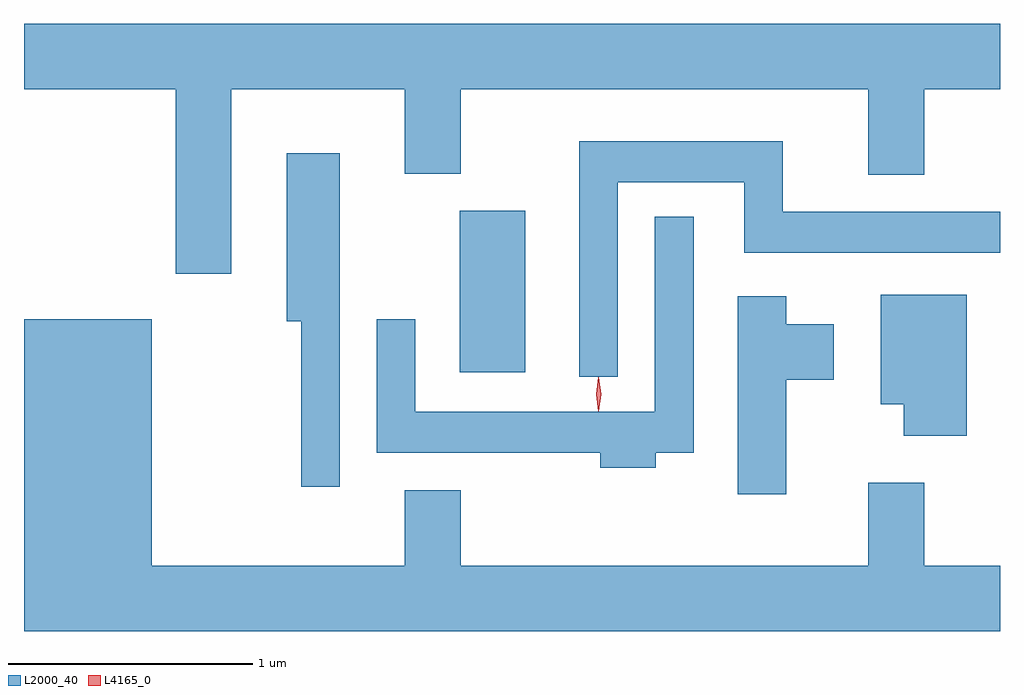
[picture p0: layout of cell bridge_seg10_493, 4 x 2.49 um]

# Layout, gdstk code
import gdstk
lib = gdstk.Library(unit=1e-6, precision=1e-09)
def R(c, l, rs):  # rectangles x0, y0, x1, y1
    for r in rs: c.add(gdstk.rectangle(r[:2], r[2:], *l))
def P(c, l, *ps):  # polygons
    for p in ps: c.add(gdstk.Polygon(p, *l))
L2000_40 = (2000, 40)
L4165_0 = (4165, 0)

bridge_seg10_493 = lib.new_cell('bridge_seg10_493')
R(bridge_seg10_493, L2000_40, [(884.966,2174.916,885.234,2175.579)])
P(bridge_seg10_493, L2000_40, [(884.029,2176.076),(884.741,2176.076),(884.741,2175.731),(884.969,2175.731),(884.969,2176.076),(886.641,2176.076),(886.641,2175.726),(886.869,2175.726),(886.869,2176.076),(887.18,2176.076),(887.18,2176.344),(883.18,2176.344),(883.18,2176.076),(883.801,2176.076),(883.801,2175.321),(884.029,2175.321)],
  [(885.614,2175.696),(886.131,2175.696),(886.131,2175.406),(887.18,2175.406),(887.18,2175.574),(886.289,2175.574),(886.289,2175.864),(885.456,2175.864),(885.456,2174.898),(885.614,2174.898)],
  [(884.474,2175.814),(884.256,2175.814),(884.256,2175.126),(884.316,2175.126),(884.316,2174.448),(884.474,2174.448)],
  [(885.769,2174.586),(885.924,2174.586),(885.924,2175.553),(885.766,2175.553),(885.766,2174.754),(884.784,2174.754),(884.784,2175.133),(884.626,2175.133),(884.626,2174.586),(885.541,2174.586),(885.541,2174.526),(885.769,2174.526)],
  [(887.044,2175.234),(886.691,2175.234),(886.691,2174.786),(886.786,2174.786),(886.786,2174.656),(887.044,2174.656)],
  [(886.304,2174.886),(886.499,2174.886),(886.499,2175.114),(886.304,2175.114),(886.304,2175.229),(886.106,2175.229),(886.106,2174.416),(886.304,2174.416)],
  [(887.18,2174.124),(886.869,2174.124),(886.869,2174.464),(886.641,2174.464),(886.641,2174.124),(884.969,2174.124),(884.969,2174.434),(884.741,2174.434),(884.741,2174.124),(883.704,2174.124),(883.704,2175.134),(883.18,2175.134),(883.18,2173.856),(887.18,2173.856)])
P(bridge_seg10_493, L4165_0, [(885.534,2174.757),(885.525,2174.826),(885.534,2174.896),(885.535,2174.896),(885.536,2174.896),(885.545,2174.826),(885.536,2174.757),(885.535,2174.757)],
  [(885.535,2174.759),(885.534,2174.76),(885.525,2174.826),(885.534,2174.892),(885.535,2174.893),(885.535,2174.892),(885.545,2174.826),(885.535,2174.76)])

lib.write_gds('bridge_seg10_493.gds')
